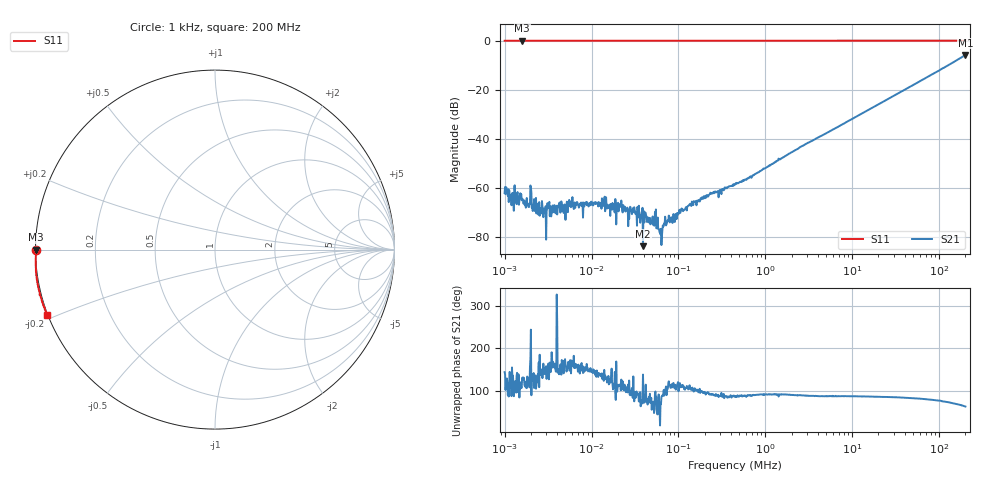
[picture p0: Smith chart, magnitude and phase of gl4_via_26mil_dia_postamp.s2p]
! ListType=Log
# MHZ S RI R 50
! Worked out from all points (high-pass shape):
!   1000 points, 1 kHz to 200 MHz, reference 50 ohm
!   highest |S21| = -5.89 dB at 200 MHz (marker M1); lowest = -83.9 dB at 39.08 kHz (marker M2)
!   |S21| within 3 dB of the highest: 144.3 MHz to end of sweep
!   lowest |S11| = 0.0 dB at 1.591 kHz (marker M3), VSWR 506.23, Z = 0.0988 + j0.00329 ohm
!   |S11| at or under -10 dB: nowhere
!   S12 and S22 are empty: the file has one direction only
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0.001  -0.9962 -0.000173  -0.000631 0.000452  0 0  0 0
0.0012011  -0.9965 -0.000239  1.2e-05 0.000436  0 0  0 0
0.0015909  -0.9961 0.000131  -0.000394 0.000447  0 0  0 0
0.0018197  -0.9966 -0.000398  -0.000307 0.000315  0 0  0 0
0.0019109  -0.9966 -0.000353  -0.000263 0.000302  0 0  0 0
0.0020562  -0.9966 -0.000158  -0.000294 0.000248  0 0  0 0
0.0021858  -0.9966 -0.000224  -0.000174 0.000556  0 0  0 0
0.002895  -0.9967 -0.000269  -0.00024 0.000203  0 0  0 0
0.004386  -0.9967 -0.000203  -0.000295 9.38e-05  0 0  0 0
0.0076941  -0.9968 -8.45e-05  -0.000408 0.000104  0 0  0 0
0.0212121  -0.9967 0.000136  -0.00016 0.000368  0 0  0 0
0.0390752  -0.9966 0.000115  -4.79e-05 4.21e-05  0 0  0 0
0.0517543  -0.9966 -4.56e-05  4.49e-05 0.000164  0 0  0 0
0.0584804  -0.9966 -3.12e-05  6.25e-05 0.000128  0 0  0 0
0.0629286  -0.9967 -2.45e-05  4.98e-05 0.000135  0 0  0 0
0.0728659  -0.9966 -0.000152  -2e-06 0.000179  0 0  0 0
0.1375478  -0.9967 -0.000269  -0.000119 0.000418  0 0  0 0
0.4499541  -0.9967 -0.000954  4.07e-05 0.00117  0 0  0 0
3.419952  -0.997 -0.00663  0.000134 0.00897  0 0  0 0
26.31347  -0.9984 -0.0477  0.00434 0.0657  0 0  0 0
99.671  -0.9908 -0.1774  0.0518 0.2395  0 0  0 0
200  -0.9359 -0.3618  0.2222 0.4562  0 0  0 0
